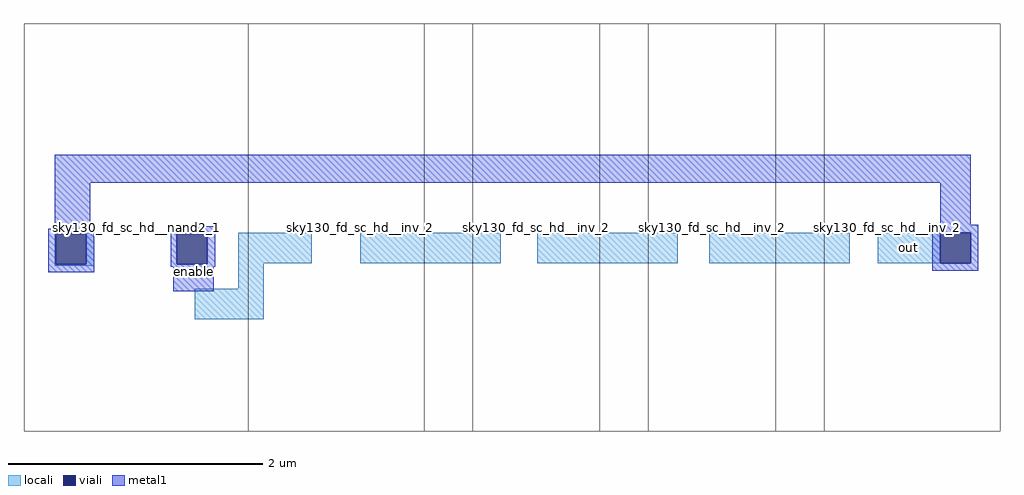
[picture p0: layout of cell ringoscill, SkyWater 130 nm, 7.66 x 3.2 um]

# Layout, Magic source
magic
tech sky130A
magscale 1 2
<< locali >>
rect -520 1672 -458 1674
rect -520 1624 -518 1672
rect -470 1624 -458 1672
rect -232 1626 -116 1674
rect -40 1626 180 1674
rect 238 1626 458 1674
rect 508 1626 728 1674
rect 772 1626 870 1674
rect -520 1622 -458 1624
rect -232 1586 -192 1626
rect -300 1538 -192 1586
<< viali >>
rect -518 1624 -470 1672
rect -328 1624 -280 1672
rect 870 1626 918 1674
<< metal1 >>
rect -520 1752 918 1796
rect -520 1680 -464 1752
rect 870 1686 918 1752
rect -530 1672 -458 1680
rect -530 1624 -518 1672
rect -470 1624 -458 1672
rect -530 1612 -458 1624
rect -338 1672 -268 1684
rect -338 1624 -328 1672
rect -280 1624 -268 1672
rect -338 1620 -268 1624
rect 858 1674 930 1686
rect 858 1626 870 1674
rect 918 1626 930 1674
rect -334 1582 -270 1620
rect 858 1614 930 1626
use sky130_fd_sc_hd__inv_2  x1 $PDKPATH/libs.ref/sky130_fd_sc_hd/mag
transform 1 0 -178 0 1 1410
box -38 -48 314 592
use sky130_fd_sc_hd__inv_2  x2
transform 1 0 98 0 1 1410
box -38 -48 314 592
use sky130_fd_sc_hd__inv_2  x3
transform 1 0 374 0 1 1410
box -38 -48 314 592
use sky130_fd_sc_hd__inv_2  x4
transform 1 0 650 0 1 1410
box -38 -48 314 592
use sky130_fd_sc_hd__nand2_1  x5 $PDKPATH/libs.ref/sky130_fd_sc_hd/mag
transform 1 0 -530 0 1 1410
box -38 -48 314 592
<< labels >>
flabel space 771 1626 870 1674 0 FreeSans 240 0 0 0 out
port 2 nsew
flabel metal1 -334 1582 -270 1644 0 FreeSans 240 0 0 0 enable
port 4 nsew
<< end >>
